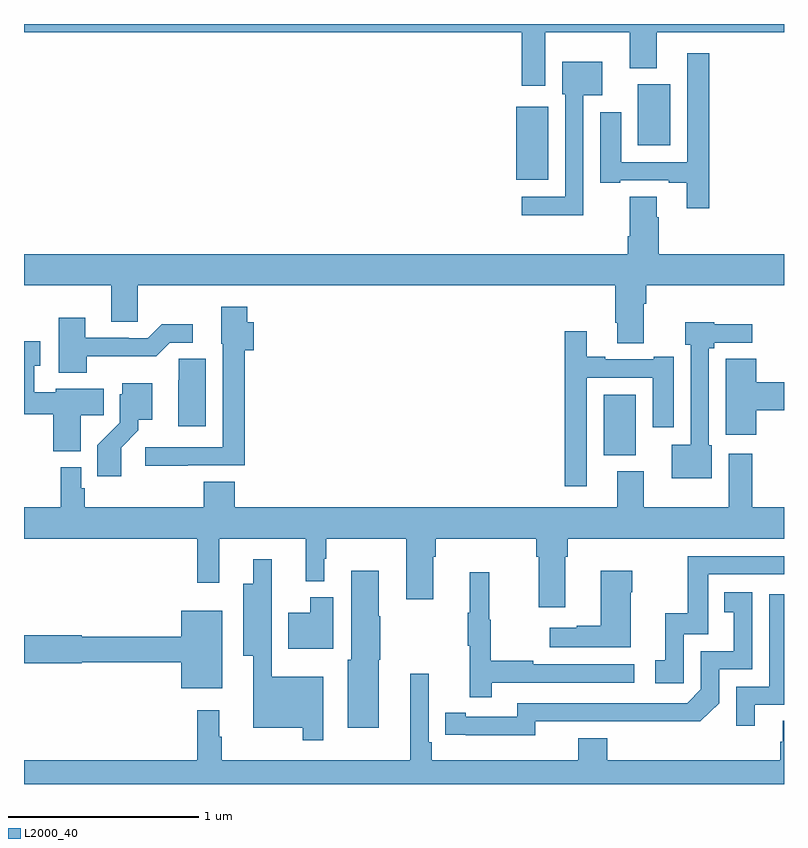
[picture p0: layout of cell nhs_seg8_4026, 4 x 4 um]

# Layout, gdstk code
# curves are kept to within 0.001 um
import gdstk
lib = gdstk.Library(unit=1e-6, precision=1e-09)
def R(c, l, rs):  # rectangles x0, y0, x1, y1
    for r in rs: c.add(gdstk.rectangle(r[:2], r[2:], *l))
def P(c, l, *ps):  # polygons
    for p in ps: c.add(gdstk.Polygon(p, *l))
L2000_40 = (2000, 40)

nhs_seg8_4026 = lib.new_cell('nhs_seg8_4026')
R(nhs_seg8_4026, L2000_40, [(362.051,1091.63,362.221,1091.95), (361.592,1093.079,361.759,1093.465), (362.231,1093.262,362.401,1093.582)])
P(nhs_seg8_4026, L2000_40, [(361.744,1093.856),(362.189,1093.856),(362.189,1093.667),(362.329,1093.667),(362.329,1093.856),(363,1093.856),(363,1093.9),(359,1093.9),(359,1093.856),(361.619,1093.856),(361.619,1093.575),(361.744,1093.575)],
  [(362.606,1093.747),(362.49,1093.747),(362.49,1093.173),(362.143,1093.173),(362.143,1093.435),(362.033,1093.435),(362.033,1093.065),(362.137,1093.065),(362.137,1093.077),(362.393,1093.077),(362.393,1093.065),(362.489,1093.065),(362.489,1092.93),(362.606,1092.93)],
  [(361.944,1093.526),(362.044,1093.526),(362.044,1093.702),(361.832,1093.702),(361.832,1093.53),(361.848,1093.53),(361.848,1092.99),(361.62,1092.99),(361.62,1092.893),(361.944,1092.893)],
  [(362.263,1092.428),(362.276,1092.428),(362.276,1092.524),(363,1092.524),(363,1092.688),(362.342,1092.688),(362.342,1092.884),(362.329,1092.884),(362.329,1092.992),(362.189,1092.992),(362.189,1092.784),(362.177,1092.784),(362.177,1092.688),(359,1092.688),(359,1092.524),(359.459,1092.524),(359.459,1092.334),(359.598,1092.334),(359.598,1092.524),(362.111,1092.524),(362.111,1092.328),(362.123,1092.328),(362.123,1092.22),(362.263,1092.22)],
  [(359.861,1091.577),(360.161,1091.577),(360.161,1092.182),(360.209,1092.182),(360.209,1092.33),(360.174,1092.33),(360.174,1092.412),(360.038,1092.412),(360.038,1092.216),(360.045,1092.216),(360.045,1091.673),(359.637,1091.673),(359.637,1091.575),(359.861,1091.575)],
  [(359.331,1092.152),(359.695,1092.152),(359.766,1092.222),(359.887,1092.222),(359.887,1092.319),(359.725,1092.319),(359.652,1092.246),(359.552,1092.246),(359.552,1092.249),(359.323,1092.249),(359.323,1092.355),(359.183,1092.355),(359.183,1092.065),(359.331,1092.065)],
  [(362.62,1091.682),(362.604,1091.682),(362.604,1092.194),(362.634,1092.194),(362.634,1092.222),(362.833,1092.222),(362.833,1092.32),(362.634,1092.32),(362.634,1092.331),(362.48,1092.331),(362.48,1092.213),(362.508,1092.213),(362.508,1091.686),(362.408,1091.686),(362.408,1091.51),(362.62,1091.51)],
  [(361.962,1092.039),(362.309,1092.039),(362.309,1091.778),(362.419,1091.778),(362.419,1092.148),(362.315,1092.148),(362.315,1092.135),(362.059,1092.135),(362.059,1092.148),(361.963,1092.148),(361.963,1092.283),(361.846,1092.283),(361.846,1091.466),(361.962,1091.466)],
  [(359.299,1091.842),(359.42,1091.842),(359.42,1091.98),(359.166,1091.98),(359.166,1091.961),(359.055,1091.961),(359.055,1092.101),(359.086,1092.101),(359.086,1092.231),(359,1092.231),(359,1091.845),(359.155,1091.845),(359.155,1091.651),(359.299,1091.651)],
  [(362.855,1091.867),(363,1091.867),(363,1092.014),(362.855,1092.014),(362.855,1092.137),(362.693,1092.137),(362.693,1091.739),(362.855,1091.739)],
  [(359.956,1092.137),(359.814,1092.137),(359.814,1092.026),(359.813,1092.026),(359.813,1091.784),(359.956,1091.784)],
  [(359.512,1091.671),(359.602,1091.761),(359.602,1091.816),(359.674,1091.816),(359.674,1092.01),(359.516,1092.01),(359.516,1091.952),(359.505,1091.952),(359.505,1091.801),(359.386,1091.682),(359.386,1091.52),(359.512,1091.52)],
  [(363,1091.356),(362.834,1091.356),(362.834,1091.638),(362.708,1091.638),(362.708,1091.356),(362.263,1091.356),(362.263,1091.545),(362.123,1091.545),(362.123,1091.356),(360.11,1091.356),(360.11,1091.492),(359.945,1091.492),(359.945,1091.356),(359.321,1091.356),(359.321,1091.457),(359.301,1091.457),(359.301,1091.566),(359.193,1091.566),(359.193,1091.356),(359,1091.356),(359,1091.192),(359.911,1091.192),(359.911,1090.959),(360.027,1090.959),(360.027,1091.192),(360.482,1091.192),(360.482,1090.967),(360.58,1090.967),(360.58,1091.085),(360.592,1091.085),(360.592,1091.192),(361.013,1091.192),(361.013,1090.872),(361.153,1090.872),(361.153,1091.096),(361.166,1091.096),(361.166,1091.192),(361.697,1091.192),(361.697,1091.096),(361.709,1091.096),(361.709,1090.83),(361.849,1090.83),(361.849,1091.096),(361.862,1091.096),(361.862,1091.192),(363,1091.192)],
  [(362.472,1090.689),(362.601,1090.689),(362.601,1091.004),(363,1091.004),(363,1091.1),(362.493,1091.1),(362.493,1090.798),(362.375,1090.798),(362.375,1090.551),(362.322,1090.551),(362.322,1090.431),(362.472,1090.431)],
  [(360.576,1090.465),(360.304,1090.465),(360.304,1090.797),(360.303,1090.797),(360.303,1091.083),(360.206,1091.083),(360.206,1090.954),(360.155,1090.954),(360.155,1090.574),(360.206,1090.574),(360.206,1090.196),(360.468,1090.196),(360.468,1090.131),(360.576,1090.131)],
  [(360.868,1090.554),(360.876,1090.554),(360.876,1090.784),(360.868,1090.784),(360.868,1091.023),(360.722,1091.023),(360.722,1090.554),(360.704,1090.554),(360.704,1090.196),(360.868,1090.196)],
  [(362.194,1090.91),(362.202,1090.91),(362.202,1091.023),(362.036,1091.023),(362.036,1090.733),(361.91,1090.733),(361.91,1090.723),(361.767,1090.723),(361.767,1090.619),(362.194,1090.619)],
  [(361.463,1090.434),(362.212,1090.434),(362.212,1090.53),(361.679,1090.53),(361.679,1090.55),(361.456,1090.55),(361.456,1090.764),(361.448,1090.764),(361.448,1091.014),(361.346,1091.014),(361.346,1090.801),(361.335,1090.801),(361.335,1090.627),(361.346,1090.627),(361.346,1090.356),(361.463,1090.356)],
  [(361.692,1090.23),(362.56,1090.229),(362.658,1090.326),(362.658,1090.503),(362.832,1090.503),(362.832,1090.909),(362.686,1090.909),(362.686,1090.803),(362.735,1090.803),(362.735,1090.599),(362.562,1090.599),(362.562,1090.398),(362.49,1090.326),(361.596,1090.326),(361.596,1090.254),(361.324,1090.254),(361.324,1090.274),(361.216,1090.274),(361.216,1090.158),(361.692,1090.157)],
  [(362.845,1090.317),(363,1090.317),(363,1090.899),(362.922,1090.899),(362.922,1090.413),(362.748,1090.413),(362.748,1090.206),(362.845,1090.206)],
  [(360.628,1090.882),(360.506,1090.882),(360.506,1090.801),(360.392,1090.801),(360.392,1090.613),(360.628,1090.613)],
  [(360.043,1090.813),(359.828,1090.813),(359.828,1090.676),(359.304,1090.676),(359.304,1090.682),(359,1090.682),(359,1090.535),(359.304,1090.535),(359.304,1090.54),(359.828,1090.54),(359.828,1090.403),(360.043,1090.403)],
  [(363,1090.232),(362.993,1090.232),(362.993,1090.122),(362.981,1090.122),(362.981,1090.024),(362.069,1090.024),(362.069,1090.141),(361.916,1090.141),(361.916,1090.024),(361.145,1090.024),(361.145,1090.12),(361.131,1090.12),(361.131,1090.48),(361.034,1090.48),(361.034,1090.024),(360.04,1090.024),(360.04,1090.148),(360.028,1090.148),(360.028,1090.288),(359.911,1090.288),(359.911,1090.024),(359,1090.024),(359,1089.9),(363,1089.9)])

lib.write_gds('nhs_seg8_4026.gds')
